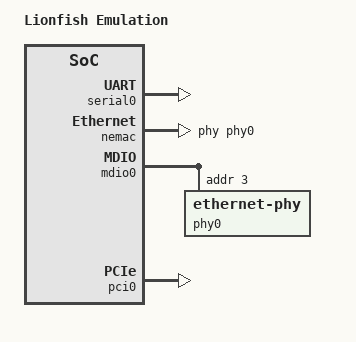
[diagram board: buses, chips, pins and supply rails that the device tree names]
/*
 * arch/arm64/boot/dts/axc6704-emu.dts
 *
 * Copyright (C) 2015 Intel Corp.
 *
 * This program is free software; you can redistribute it and/or modify
 * it under the terms of the GNU General Public License as published by
 * the Free Software Foundation; either version 2 of the License, or
 * (at your option) any later version.
 */

/dts-v1/;

#include "axc67xx.dtsi"
#include "axc6704-cpus.dtsi"

/ {
	model = "Lionfish Emulation";
	compatible = "lsi,axc6732";

	memory {
		device_type = "memory";
		reg = <0 0x00000000 0x40000000>;
	};

	soc {
	};
};

&serial0 {
	status = "okay";
};

&nemac {
	status = "okay";
	phy-handle = <&phy0>;
};

&mdio0 {
	status = "okay";
	lsi,mdio-clk-offset = <0x5>;
	lsi,mdio-clk-period = <0xc>;

	phy0: ethernet-phy@3 {
		reg = <0x3>;
		max-speed = <10>;
	};
};

&pci0 {
	status = "okay";
};
